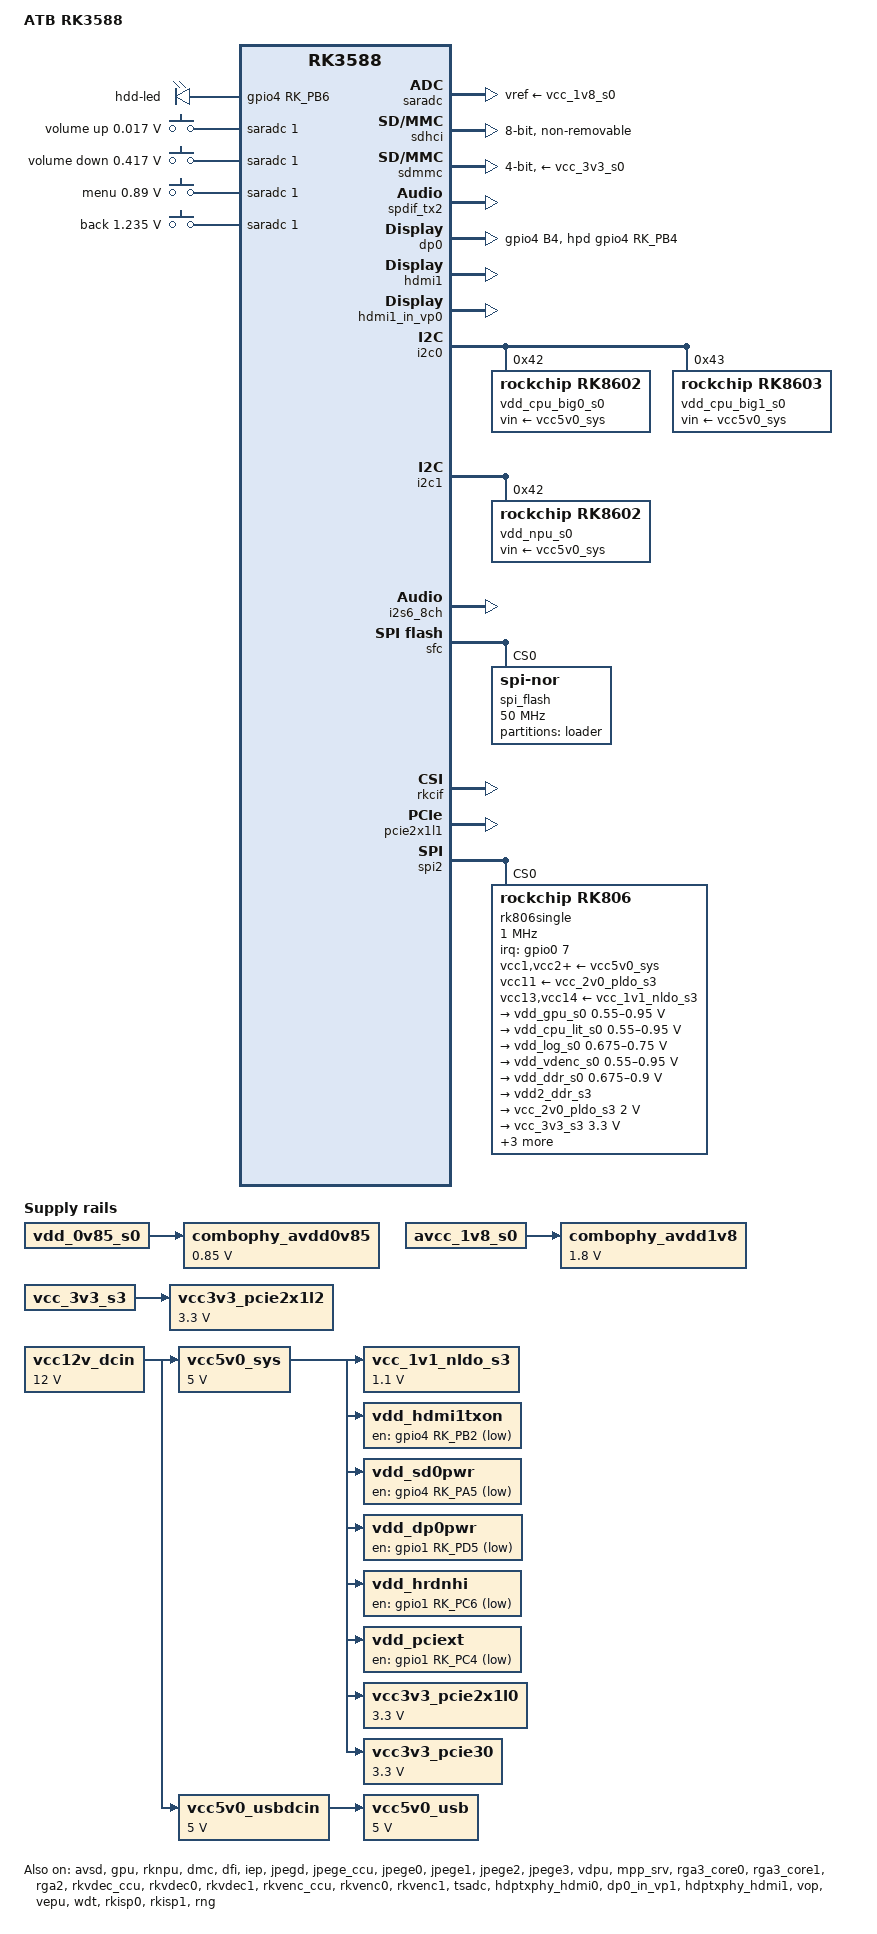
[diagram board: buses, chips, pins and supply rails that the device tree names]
// SPDX-License-Identifier: (GPL-2.0+ OR MIT)
/*
 * Copyright (c) 2021 Rockchip Electronics Co., Ltd.
 *
 */

/dts-v1/;
#include <dt-bindings/gpio/gpio.h>
#include <dt-bindings/pinctrl/rockchip.h>
#include <dt-bindings/leds/common.h>
#include <dt-bindings/pwm/pwm.h>
#include <dt-bindings/input/rk-input.h>
#include <dt-bindings/display/rockchip_vop.h>
#include <dt-bindings/sensor-dev.h>
#include "dt-bindings/usb/pd.h"
#include "rk3588s.dtsi"
#include "rk3588.dtsi"

#include "ethernet-mpc.dtsi"
#include "usb-sata-pcie-mpc.dtsi"
#include "usb-displayport-mpc.dtsi"

/ {
	model = "ATB RK3588";
	compatible = "atb,rk3588", "rockchip,rk3588";

	hdmi0_sound: hdmi0-sound {
		status = "disabled";
		compatible = "rockchip,hdmi";
		rockchip,mclk-fs = <128>;
		rockchip,card-name = "rockchip-hdmi0";
		rockchip,cpu = <&i2s5_8ch>;
		rockchip,codec = <&hdmi0>;
		rockchip,jack-det;
	};

	hdmi1_sound: hdmi1-sound {
		status = "okay";
		compatible = "rockchip,hdmi";
		rockchip,mclk-fs = <128>;
		rockchip,card-name = "rockchip-hdmi1";
		rockchip,cpu = <&i2s6_8ch>;
		rockchip,codec = <&hdmi1>;
		rockchip,jack-det;
	};

	dp0_sound: dp0-sound {
		status = "okay";
		compatible = "rockchip,hdmi";
		rockchip,card-name= "rockchip,dp0";
		rockchip,mclk-fs = <512>;
		rockchip,cpu = <&spdif_tx2>;
		rockchip,codec = <&dp0 1>;
		rockchip,jack-det;
	};

	dp1_sound: dp1-sound {
		status = "disabled";
		compatible = "rockchip,hdmi";
		rockchip,card-name= "rockchip,dp1";
		rockchip,mclk-fs = <512>;
		rockchip,cpu = <&spdif_tx5>;
		rockchip,codec = <&dp1 1>;
		rockchip,jack-det;
	};

	leds: leds {
		compatible = "gpio-leds";
		hdd-led {
			gpios = <&gpio4 RK_PB6 GPIO_ACTIVE_HIGH>;
			linux,default-trigger = "heartbeat";
			default-state = "on";
		};	
	};
	spdif_tx0_dc: spdif-tx0-dc {
		status = "disabled";
		compatible = "linux,spdif-dit";
		#sound-dai-cells = <0>;
	};

	spdif_tx0_sound: spdif-tx0-sound {
		status = "disabled";
		compatible = "simple-audio-card";
		simple-audio-card,mclk-fs = <128>;
		simple-audio-card,name = "rockchip,spdif-tx0";
		simple-audio-card,cpu {
			sound-dai = <&spdif_tx0>;
		};
		simple-audio-card,codec {
			sound-dai = <&spdif_tx0_dc>;
		};
	};

	spdif_tx1_dc: spdif-tx1-dc {
		status = "disabled";
		compatible = "linux,spdif-dit";
		#sound-dai-cells = <0>;
	};

	spdif_tx1_sound: spdif-tx1-sound {
		status = "disabled";
		compatible = "simple-audio-card";
		simple-audio-card,mclk-fs = <128>;
		simple-audio-card,name = "rockchip,spdif-tx1";
		simple-audio-card,cpu {
			sound-dai = <&spdif_tx1>;
		};
		simple-audio-card,codec {
			sound-dai = <&spdif_tx1_dc>;
		};
	};

	test-power {
		status = "okay";
	};

};

//&avdd_0v75_s0 {
//	regulator-state-mem {
//		regulator-on-in-suspend;
//		regulator-suspend-microvolt = <837500>;
//	};
//};

//&avcc_1v8_s0 {
//	regulator-state-mem {
//		regulator-on-in-suspend;
//		regulator-suspend-microvolt = <1800000>;
//	};
//};

//&vcc_1v8_s0 {
//	regulator-state-mem {
//		regulator-on-in-suspend;
//		regulator-suspend-microvolt = <1800000>;
//	};
//};

//&vcc_3v3_s0 {
//	regulator-state-mem {
//		regulator-on-in-suspend;
//		regulator-suspend-microvolt = <3300000>;
//	};
//};

//&vdd_log_s0 {
//	regulator-state-mem {
//		regulator-on-in-suspend;
//		regulator-suspend-microvolt = <750000>;
//	};
//};

//&vdd_ddr_pll_s0 {
//	regulator-state-mem {
//		regulator-on-in-suspend;
//		regulator-suspend-microvolt = <850000>;
//	};
//};


&av1d_mmu {
	status = "okay";
};

&avsd {
	status = "okay";
};

&cpu_l0 {
	cpu-supply = <&vdd_cpu_lit_s0>;
	mem-supply = <&vdd_cpu_lit_mem_s0>;
};

&cpu_b0 {
	cpu-supply = <&vdd_cpu_big0_s0>;
	mem-supply = <&vdd_cpu_big0_mem_s0>;
};

&cpu_b2 {
	cpu-supply = <&vdd_cpu_big1_s0>;
	mem-supply = <&vdd_cpu_big1_mem_s0>;
};

&gpu {
	mali-supply = <&vdd_gpu_s0>;
	mem-supply = <&vdd_gpu_mem_s0>;
	status = "okay";
};

&rknpu {
	rknpu-supply = <&vdd_npu_s0>;
	mem-supply = <&vdd_npu_mem_s0>;
	status = "okay";
};

&rknpu_mmu {
	status = "okay";
};

&dmc {
	center-supply = <&vdd_ddr_s0>;
	mem-supply = <&vdd_log_s0>;
	status = "okay";
};

&dfi {
	status = "okay";
};

&iep {
	status = "okay";
};

&iep_mmu {
	status = "okay";
};

&jpegd {
	status = "okay";
};

&jpegd_mmu {
	status = "okay";
};

&jpege_ccu {
	status = "okay";
};

&jpege0 {
	status = "okay";
};

&jpege0_mmu {
	status = "okay";
};

&jpege1 {
	status = "okay";
};

&jpege1_mmu {
	status = "okay";
};

&jpege2 {
	status = "okay";
};

&jpege2_mmu {
	status = "okay";
};

&jpege3 {
	status = "okay";
};

&jpege3_mmu {
	status = "okay";
};

&vdpu {
	status = "okay";
};

&vdpu_mmu {
	status = "okay";
};

&mpp_srv {
	status = "okay";
};

&rga3_core0 {
	status = "okay";
};

&rga3_0_mmu {
	status = "okay";
};

&rga3_core1 {
	status = "okay";
};

&rga3_1_mmu {
	status = "okay";
};

&rga2 {
	status = "okay";
};

&rkvdec_ccu {
	status = "okay";
};

&rkvdec0 {
	status = "okay";
};

&rkvdec0_mmu {
	status = "okay";
};

&rkvdec1 {
	status = "okay";
};

&rkvdec1_mmu {
	status = "okay";
};

&rkvenc_ccu {
	status = "okay";
};

&rkvenc0 {
	venc-supply = <&vdd_vdenc_s0>;
	mem-supply = <&vdd_vdenc_mem_s0>;
	status = "okay";
};

&rkvenc0_mmu {
	status = "okay";
};

&rkvenc1 {
	venc-supply = <&vdd_vdenc_s0>;
	mem-supply = <&vdd_vdenc_mem_s0>;
	status = "okay";
};

&rkvenc1_mmu {
	status = "okay";
};

&saradc {
	status = "okay";
	vref-supply = <&vcc_1v8_s0>;
};

&sdhci {
	bus-width = <8>;
	no-sdio;
	no-sd;
	non-removable;
	max-frequency = <200000000>;
	mmc-hs400-1_8v;
	mmc-hs400-enhanced-strobe;
	status = "okay";
};

&sdmmc {
	status = "okay";
	max-frequency = <50000000>;
//	no-sdio;
	no-mmc;
	bus-width = <4>;
	cap-mmc-highspeed;
	cap-sd-highspeed;
	disable-wp;
	sd-uhs-sdr104;
	vmmc-supply = <&vcc_3v3_s0>;
	vqmmc-supply = <&vccio_sd_s0>;
	pinctrl-names = "default";
	pinctrl-0 = <&sdmmc_bus4 &sdmmc_clk &sdmmc_cmd &sdmmc_det>;
};

&tsadc {
	status = "okay";
};



// === Video-audio setup ===

&mipi_dcphy0 {
	status = "disabled";
};

&mipi_dcphy1 {
	status = "disabled";
};

&spdif_tx2{
	status = "okay";
};

&hdmi0 {
	status = "disabled";
};

&hdmi0_in_vp0 {
	status = "disabled";
};

&hdmi0_sound {
	status = "disabled";
};

&hdptxphy_hdmi_clk0 {
	status = "okay";
};

&hdptxphy_hdmi0 {
	status = "okay";
};

&route_hdmi0{
	status = "disabled";
};

// 1v8_DP_PWR_EN - page 10, block D9-5
&dp0 {
	status = "okay";
	pinctrl-names = "default";
	pinctrl-0 = <&dp0_hpd>;
	hpd-gpios = <&gpio4 RK_PB4 GPIO_ACTIVE_HIGH>;
};

&dp0_sound {
	status = "okay";
};

&dp0_in_vp0 {
	status = "disabled";
};

&dp0_in_vp1 {
	status = "okay";
};

&dp0_in_vp2 {
	status = "disabled";
};

&route_dp0 {
	status = "okay";
	force-output;
	connect = <&vp1_out_dp0>;
};

// HDMI1_HPD - page 14, block D9-6
&hdmi1 {
	status = "okay";
	pinctrl-names = "default";
	pinctrl-0 = <&hdmim2_tx1_cec &hdmim0_tx1_hpd &hdmim1_tx1_scl &hdmim1_tx1_sda>;
	cec-enable = "false";
};

&hdptxphy_hdmi_clk1 {
	status = "okay";
};

&hdptxphy_hdmi1 {
	status = "okay";
};

&hdmi1_sound {
	status = "okay";
};

&hdmi1_in_vp0 {
	status = "okay";
};

&hdmi1_in_vp1 {
	status = "disabled";
};

&hdmi1_in_vp2 {
	status = "disabled";
};

&route_hdmi1 {
	status = "okay";
	force-output;
	connect = <&vp0_out_hdmi1>;
};

&dp1 {
	status = "disabled";
};

&dp1_in_vp0 {
	status = "disabled";
};

&dp1_in_vp1 {
	status = "disabled";
};

&dp1_in_vp2 {
	status = "disabled";
};

&route_dp1{
	status = "disabled";
};


// === Video ports setup ===

&vop {
	status = "okay";
	disable-win-move;
	assigned-clocks = <&cru ACLK_VOP>;
	assigned-clock-rates = <800000000>;
};

&vop_mmu {
	status = "okay";
};

&vepu {
	status = "okay";
};

// vp0 & vp1 splice for 8K output
&vp0 {
	rockchip,plane-mask = <(1 << ROCKCHIP_VOP2_CLUSTER0 | 1 << ROCKCHIP_VOP2_ESMART0)>;
	rockchip,primary-plane = <ROCKCHIP_VOP2_ESMART0>;
};

&vp1 {
	rockchip,plane-mask = <(1 << ROCKCHIP_VOP2_CLUSTER1 | 1 << ROCKCHIP_VOP2_ESMART1)>;
	rockchip,primary-plane = <ROCKCHIP_VOP2_ESMART1>;
};

&vp2 {
	rockchip,plane-mask = <(1 << ROCKCHIP_VOP2_CLUSTER2 | 1 << ROCKCHIP_VOP2_ESMART2)>;
	rockchip,primary-plane = <ROCKCHIP_VOP2_ESMART2>;
};

&vp3 {
	rockchip,plane-mask = <(1 << ROCKCHIP_VOP2_CLUSTER3 | 1 << ROCKCHIP_VOP2_ESMART3)>;
	rockchip,primary-plane = <ROCKCHIP_VOP2_ESMART3>;
};


&display_subsystem {
	clocks = <&hdptxphy_hdmi_clk1>;
	clock-names = "hdmi1_phy_pll";
	ports = <&vop_out>;

	route {

		route_dp0: route-dp0 {
			status = "okay";
			logo,uboot = "logo.bmp";
			logo,kernel = "logo_kernel.bmp";
			logo,mode = "center";
			charge_logo,mode = "center";
			connect = <&vp1_out_dp0>;
		};

		route_hdmi1: route-hdmi1 {
			status = "okay";
			logo,uboot = "logo.bmp";
			logo,kernel = "logo_kernel.bmp";
			logo,mode = "center";
			charge_logo,mode = "center";
			connect = <&vp0_out_hdmi1>;
		};
	};
};


&sdio {
	status = "disabled";
};





// === UART setup ===

&uart0 {
	status = "disabled";
	pinctrl-names = "default";
	pinctrl-0 = <&uart0m0_xfer>;
};


// uart1 - page 14, block D9-6
&uart1 {
	status = "disabled";
	pinctrl-names = "default";
	pinctrl-0 = <&uart1m1_xfer>;
};

//&uart2 {
//	status = "okay";
//	pinctrl-names = "default";
//	pinctrl-0 = <&uart2m0_xfer>;
//};


// uart3 - page 10, block D9-5
&uart3 {
	status = "disabled";
	pinctrl-names = "default";
	pinctrl-0 = <&uart3m0_xfer>;
};

// uart4 - page 11, block D9-7
&uart4 {
	status = "disabled";
	pinctrl-names = "default";
	pinctrl-0 = <&uart4m1_xfer>;
};

&uart5 {
	status = "disabled";
};

&uart6 {
	status = "disabled";
};

// uart7 - page 11, block D9-7
&uart7 {
	status = "disabled";
	pinctrl-names = "default";
	pinctrl-0 = <&uart7m0_xfer>;
};

&uart8 {
	status = "disabled";
};

// uart9 - page 11, block D9-7
&uart9 {
	status = "disabled";
	pinctrl-names = "default";
	pinctrl-0 = <&uart9m2_xfer>;
};

// === SPI setup ===

&spi0 {
	status = "disabled";
	pinctrl-names = "default";
	pinctrl-0 = <&spi0m0_cs1 &spi0m0_pins>;
};

&spi1 {
	status = "disabled";
};

&spi3 {
	status = "disabled";
	pinctrl-names = "default";
//	pinctrl-0 = <&spi0m0_cs1 &spi0m0_pins>;
//	num-cs = <1>;
};

// === I2C setup ===

// i2c0 - page 7, block D9-3
&i2c0 {
	status = "okay";
	pinctrl-names = "default";
	pinctrl-0 = <&i2c0m2_xfer>;

	vdd_cpu_big0_s0: vdd_cpu_big0_mem_s0: rk8602@42 {
		compatible = "rockchip,rk8602";
		reg = <0x42>;
		vin-supply = <&vcc5v0_sys>;
		regulator-compatible = "rk860x-reg";
		regulator-name = "vdd_cpu_big0_s0";
		regulator-min-microvolt = <550000>;
		regulator-max-microvolt = <1050000>;
		regulator-ramp-delay = <2300>;
		rockchip,suspend-voltage-selector = <1>;
		regulator-boot-on;
		regulator-always-on;
		regulator-state-mem {
		regulator-off-in-suspend;
		};
	};

	vdd_cpu_big1_s0: vdd_cpu_big1_mem_s0: rk8603@43 {
		compatible = "rockchip,rk8603";
		reg = <0x43>;
		vin-supply = <&vcc5v0_sys>;
		regulator-compatible = "rk860x-reg";
		regulator-name = "vdd_cpu_big1_s0";
		regulator-min-microvolt = <550000>;
		regulator-max-microvolt = <1050000>;
		regulator-ramp-delay = <2300>;
		rockchip,suspend-voltage-selector = <1>;
		regulator-boot-on;
		regulator-always-on;
		regulator-state-mem {
		regulator-off-in-suspend;
		};
	};
};

// i2c1 - page 7, block D9-3
&i2c1 {
	status = "okay";
	pinctrl-names = "default";
	pinctrl-0 = <&i2c1m2_xfer>;

	vdd_npu_s0: vdd_npu_mem_s0: rk8602@42 {
		compatible = "rockchip,rk8602";
		reg = <0x42>;
		vin-supply = <&vcc5v0_sys>;
		regulator-compatible = "rk860x-reg";
		regulator-name = "vdd_npu_s0";
		regulator-min-microvolt = <550000>;
		regulator-max-microvolt = <950000>;
		regulator-ramp-delay = <2300>;
		rockchip,suspend-voltage-selector = <1>;
		regulator-boot-on;
		regulator-always-on;
		regulator-state-mem {
		regulator-off-in-suspend;
		};
	};
	
}; // &i2c1 {

&i2c2 {
	status = "disabled";
};

&i2c3 {
	status = "disabled";
	pinctrl-names = "default";
	pinctrl-0 = <&i2c3m0_xfer>;
};

// i2c4 - page 7, block D9-3
&i2c4 {
	status = "disabled";
	pinctrl-names = "default";
	pinctrl-0 = <&i2c4m2_xfer>;

	i2c@5d {
		status = "okay";
		compatible = "goodix,gt9xx";
		reg = <0x5d>;
	};

	i2c@53 {
		status = "okay";
		compatible = "microchip,24AA02UIDT", "atmel,24AA02UIDT";
		reg = <0x53>;
//		#address-cells = <2>;
//		#size-cells = <0>;
		pagesize = <16>;
		size = <256>;

		eui_48: eui-48@fa {
		    reg = <0xfa 0x06>;
		};
	};

};

&i2c5 {
	status = "disabled";
	pinctrl-names = "default";
	pinctrl-0 = <&i2c5m3_xfer>;
};

&i2c6 {
	status = "disabled";
	pinctrl-names = "default";
	pinctrl-0 = <&i2c6m3_xfer>;


//	usbc0: fusb302@22 {
//		compatible = "fcs,fusb302";
//		reg = <0x22>;
//		interrupt-parent = <&gpio0>;
//		interrupts = <RK_PD3 IRQ_TYPE_LEVEL_LOW>;
//		pinctrl-names = "default";
//		pinctrl-0 = <&usbc0_int>;
//		vbus-supply = <&vcc12v_dcin>;
//		status = "okay";
//
//		ports {
//			#address-cells = <1>;
//			#size-cells = <0>;
//
//			port@0 {
//				reg = <0>;
//				usbc0_role_sw: endpoint@0 {
//					remote-endpoint = <&dwc3_0_role_switch>;
//				};
//			};
//		};
//
//		usb_con: connector {
//			compatible = "usb-c-connector";
//			label = "USB-C";
//			data-role = "dual";
//			faster-pd-negotiation;
//			power-role = "sink";
//			try-power-role = "sink";
//			op-sink-microwatt = <1000000>;
//			sink-pdos =
//				<PDO_FIXED(5000, 3000, PDO_FIXED_USB_COMM)
//				 PDO_VAR(5000, 20000, 5000)>;
//
//			altmodes {
//				#address-cells = <1>;
//				#size-cells = <0>;
//
//				altmode@0 {
//					reg = <0>;
//					svid = <0xff01>;
//					vdo = <0xffffffff>;
//				};
//			};
//
//			ports {
//				#address-cells = <1>;
//				#size-cells = <0>;
//
//				port@0 {
//					reg = <0>;
//					usbc0_orien_sw: endpoint {
//						remote-endpoint = <&usbdp_phy0_orientation_switch>;
//					};
//				};
//
//				port@1 {
//					reg = <1>;
//					dp_altmode_mux: endpoint {
//						remote-endpoint = <&usbdp_phy0_dp_altmode_mux>;
//					};
//				};
//			};
//		};
//	};

//	hym8563: hym8563@51 {
//		compatible = "haoyu,hym8563";
//		reg = <0x51>;
//		#clock-cells = <0>;
//		clock-frequency = <32768>;
//		clock-output-names = "hym8563";
//		pinctrl-names = "default";
//		pinctrl-0 = <&hym8563_int>;
//		interrupt-parent = <&gpio0>;
//		interrupts = <RK_PB0 IRQ_TYPE_LEVEL_LOW>;
//		wakeup-source;
//	};

};

&i2c7 {
	status = "disabled";
	pinctrl-names = "default";
	pinctrl-0 = <&i2c7m0_xfer>;

//	es8388: es8388@10 {
//		status = "disabled";
//		#sound-dai-cells = <0>;
//		compatible = "everest,es8388", "everest,es8323";
//		reg = <0x10>;
//		clocks = <&cru I2S0_8CH_MCLKOUT>;
//		clock-names = "mclk";
//		assigned-clocks = <&cru I2S0_8CH_MCLKOUT>;
//		assigned-clock-rates = <12288000>;
//		pinctrl-names = "default";
//		pinctrl-0 = <&i2s0_mclk>;
//	};
};

&i2c8 {
	status = "disabled";
};

//&i2c9 {
//	status = "disabled";
//};

// === PWM setup ===

&pwm0 {
	status = "disabled";
	pinctrl-names = "active";
	pinctrl-0 = <&pwm0m1_pins>;
};

&pwm1 {
	status = "disabled";
	pinctrl-names = "active";
	//pinctrl-0 = <&pwm1m2_pins>;
	pinctrl-0 = <&pwm1m1_pins>;
};

&pwm2 {
	status = "disabled";
	pinctrl-names = "active";
	pinctrl-0 = <&pwm2m0_pins>;
};

&pwm3 {
	status = "disabled";
	pinctrl-names = "active";
	pinctrl-0 = <&pwm3m2_pins>;
	//pinctrl-0 = <&pwm3m0_pins>;
};

&pwm6 {
	status = "disabled";
	pinctrl-names = "active";
	pinctrl-0 = <&pwm6m0_pins>;
};

&pwm13 {
	status = "disabled";
	pinctrl-names = "active";
	pinctrl-0 = <&pwm13m2_pins>;
};

&pwm15 {
	status = "disabled";
	pinctrl-names = "active";
	pinctrl-0 = <&pwm15m2_pins>;
};

&pwm14 {
	status = "disabled";
	pinctrl-names = "active";
	pinctrl-0 = <&pwm14m1_pins>;
};



// === I2S setup ===

&i2s0_8ch {
	status = "disabled";
	pinctrl-0 = <&i2s0_lrck
		     &i2s0_sclk
		     &i2s0_sdi0
		     &i2s0_sdo0>;
};

&i2s1_8ch {
	status = "disabled";
	rockchip,i2s-tx-route = <3 2 1 0>;
	rockchip,i2s-rx-route = <1 3 2 0>;
	pinctrl-names = "default";
	pinctrl-0 = <&i2s1m0_sclk
	             &i2s1m0_lrck
	             &i2s1m0_sdi1
	             &i2s1m0_sdo3>;
};

&i2s5_8ch {
	status = "disabled";
};

&i2s6_8ch {
	status = "okay";
};


&can0 {
	status = "disabled";
};

&can1 {
	status = "disabled";
};

&can2 {
	status = "disabled";
};



// watchdog
&wdt {
        status = "okay";
};

&sfc {
	status = "okay";
	max-freq = <50000000>;
	#address-cells = <1>;
	#size-cells = <0>;
	pinctrl-names = "default";
	pinctrl-0 = <&fspim0_pins>;

	spi_flash: spi-flash@0 {
		#address-cells = <1>;
		#size-cells = <0>;
		compatible = "jedec,spi-nor";
		reg = <0x0>;
		spi-max-frequency = <50000000>;
		spi-tx-bus-width = <1>;
		spi-rx-bus-width = <4>;
		status = "okay";

		partitions {
			compatible = "fixed-partitions";
			#address-cells = <1>;
			#size-cells = <1>;

			loader@0 {
				label = "loader";
				reg = <0x0 0x1000000>;
			};
		};
	};
};

/*
&rockchip_suspend {
	status = "okay";
	compatible = "rockchip,pm-rk3588";
	rockchip,sleep-debug-en = <1>;
	rockchip,sleep-mode-config = <
		(0
		| RKPM_SLP_ARMOFF_DDRPD
		)
	>;
	rockchip,wakeup-config = <
		(0
		| RKPM_GPIO_WKUP_EN
		| RKPM_USB_WKUP_EN
		)
	>;
};
*/

&rkcif {
	status = "okay";
};

&rkcif_mmu {
	status = "okay";
};

&rkisp0 {
	status = "okay";
};

&isp0_mmu {
	status = "okay";
};

&rkisp1 {
	status = "okay";
};

&isp1_mmu {
	status = "okay";
};

//=== Other
#define M2_SATA3_OR_PCIE_OR_USB 1 /*1 = SATA , 0 = PCIe */
&combphy2_psu {
	status = "disabled";
};
//SATA2 begin
/*&sata3 {
	status = "disabled";
};
*/
//pcie begin
&pcie2x1l1 {
	status = "okay";
};
//pcie end
//SATA2 end
//USB30_2 begin
&usbhost3_0 {
	status = "disabled";
};

&usbhost_dwc3_0 {
	status = "disabled";
};

//-USB30_2 end
/*
&usbdp_phy0_dp {
	status = "disabled";
};
*/


&pinctrl {

//	usb {
//		vcc5v0_host_en: vcc5v0-host-en {
//			rockchip,pins = <4 RK_PB0 RK_FUNC_GPIO &pcfg_pull_none>;
//		};
//
//		vcc5v0_otg_en: vcc5v0-otg-en {
//			rockchip,pins = <2 RK_PC5 RK_FUNC_GPIO &pcfg_pull_none>;
//		};
//	};


	dp {
		dp0_hpd: dp0-hpd {
			 rockchip,pins = <4 RK_PB4 RK_FUNC_GPIO &pcfg_pull_none>;
		};
	};

//	headphone {
//		hp_det: hp-det {
//			rockchip,pins = <1 RK_PD5 RK_FUNC_GPIO &pcfg_pull_none>;
//		};
//	};

//	hym8563 {
//		hym8563_int: hym8563-int {
//			rockchip,pins = <0 RK_PB0 RK_FUNC_GPIO &pcfg_pull_up>;
//		};
//	};


//	usb-typec {
//		usbc0_int: usbc0-int {
//			rockchip,pins = <0 RK_PD3 RK_FUNC_GPIO &pcfg_pull_up>;
//		};
//
//		typec5v_pwren: typec5v-pwren {
//			rockchip,pins = <3 RK_PC0 RK_FUNC_GPIO &pcfg_pull_none>;
//		};
//	};

};


&gpio0 {
	gpio-line-names =
		/* GPIO0_A0-A3 */
		"", "", "", "",
		/* GPIO0_A4-A7 */
		"", "", "", "",

		/* GPIO0_B0-B3 */
		"", "", "", "",
		/* GPIO0_B4-B7 */
		"", "", "", "",

		/* GPIO0_C0-C3 */
		"", "", "", "",
		/* GPIO0_C4-C7 */
		"", "", "", "",

		/* GPIO0_D0-D3 */
		"", "", "", "",
		/* GPIO0_D4-D7 */
		"", "", "", "";
};

&gpio1 {
	gpio-line-names =
		/* GPIO1_A0-A3 */
		"", "", "", "",
		/* GPIO1_A4-A7 */
		"", "", "", "",

		/* GPIO1_B0-B3 */
		"", "", "", "",
		/* GPIO1_B4-B7 */
		"", "", "", "",

		/* GPIO1_C0-C3 */
		"", "", "", "",
		/* GPIO1_C4-C7 */
		"", "", "", "",

		/* GPIO1_D0-D3 */
		"", "", "", "",
		/* GPIO1_D4-D7 */
		"", "", "", "";
};

&gpio2 {
	gpio-line-names =
		/* GPIO2_A0-A3 */
		"", "", "", "",
		/* GPIO2_A4-A7 */
		"", "", "", "",

		/* GPIO2_B0-B3 */
		"", "", "", "",
		/* GPIO2_B4-B7 */
		"", "", "", "",

		/* GPIO2_C0-C3 */
		"", "", "", "",
		/* GPIO2_C4-C7 */
		"", "", "", "",

		/* GPIO2_D0-D3 */
		"", "", "", "",
		/* GPIO2_D4-D7 */
		"", "", "", "";
};

&gpio3 {
	gpio-line-names =
		/* GPIO3_A0-A3 */
		"", "", "", "",
		/* GPIO3_A4-A7 */
		"", "", "", "",

		/* GPIO3_B0-B3 */
		"", "", "", "",
		/* GPIO3_B4-B7 */
		"", "", "", "",

		/* GPIO3_C0-C3 */
		"", "", "", "",
		/* GPIO3_C4-C7 */
		"", "", "", "",

		/* GPIO3_D0-D3 */
		"", "", "", "",
		/* GPIO3_D4-D7 */
		"", "", "", "";
};

&gpio4 {
	gpio-line-names =
		/* GPIO4_A0-A3 */
		"", "", "", "",
		/* GPIO4_A4-A7 */
		"", "", "", "",

		/* GPIO4_B0-B3 */
		"", "", "", "",
		/* GPIO4_B4-B7 */
		"", "", "", "",

		/* GPIO4_C0-C3 */
		"", "", "", "",
		/* GPIO4_C4-C7 */
		"", "", "", "",

		/* GPIO4_D0-D3 */
		"", "", "", "",
		/* GPIO4_D4-D7 */
		"", "", "", "";
};

///////////////////////////
//rk3588-rk806-single.dtsi
///////////////////////////
&spi2 {
	status = "okay";
	assigned-clocks = <&cru CLK_SPI2>;
	assigned-clock-rates = <200000000>;
	pinctrl-names = "default";
	pinctrl-0 = <&spi2m2_cs0 &spi2m2_pins>;
	num-cs = <1>;

	rk806single: rk806single@0 {
		compatible = "rockchip,rk806";
		spi-max-frequency = <1000000>;
		reg = <0x0>;

		interrupt-parent = <&gpio0>;
		interrupts = <7 IRQ_TYPE_LEVEL_LOW>;

		pinctrl-names = "default", "pmic-power-off";
		pinctrl-0 = <&pmic_pins>, <&rk806_dvs1_null>, <&rk806_dvs2_null>, <&rk806_dvs3_null>;
		pinctrl-1 = <&rk806_dvs1_pwrdn>;

		/* 2800mv-3500mv */
		low_voltage_threshold = <3000>;
		/* 2700mv-3400mv */
		shutdown_voltage_threshold = <2700>;
		/* 140 160 */
		shutdown_temperture_threshold = <160>;
		hotdie_temperture_threshold = <115>;

		/* 0: restart PMU;
		 * 1: reset all the power off reset registers,
		 *    forcing the state to switch to ACTIVE mode;
		 * 2: Reset all the power off reset registers,
		 *    forcing the state to switch to ACTIVE mode,
		 *    and simultaneously pull down the RESETB PIN for 5mS before releasing
		 */
		pmic-reset-func = <1>;

		vcc1-supply = <&vcc5v0_sys>;
		vcc2-supply = <&vcc5v0_sys>;
		vcc3-supply = <&vcc5v0_sys>;
		vcc4-supply = <&vcc5v0_sys>;
		vcc5-supply = <&vcc5v0_sys>;
		vcc6-supply = <&vcc5v0_sys>;
		vcc7-supply = <&vcc5v0_sys>;
		vcc8-supply = <&vcc5v0_sys>;
		vcc9-supply = <&vcc5v0_sys>;
		vcc10-supply = <&vcc5v0_sys>;
		vcc11-supply = <&vcc_2v0_pldo_s3>;
		vcc12-supply = <&vcc5v0_sys>;
		vcc13-supply = <&vcc_1v1_nldo_s3>;
		vcc14-supply = <&vcc_1v1_nldo_s3>;
		vcca-supply = <&vcc5v0_sys>;

		pwrkey {
			status = "okay";
		};

		pinctrl_rk806: pinctrl_rk806 {
			gpio-controller;
			#gpio-cells = <2>;

			rk806_dvs1_null: rk806_dvs1_null {
				pins = "gpio_pwrctrl2";
				function = "pin_fun0";
			};

			rk806_dvs1_slp: rk806_dvs1_slp {
				pins = "gpio_pwrctrl1";
				function = "pin_fun1";
			};

			rk806_dvs1_pwrdn: rk806_dvs1_pwrdn {
				pins = "gpio_pwrctrl1";
				function = "pin_fun2";
			};

			rk806_dvs1_rst: rk806_dvs1_rst {
				pins = "gpio_pwrctrl1";
				function = "pin_fun3";
			};

			rk806_dvs2_null: rk806_dvs2_null {
				pins = "gpio_pwrctrl2";
				function = "pin_fun0";
			};

			rk806_dvs2_slp: rk806_dvs2_slp {
				pins = "gpio_pwrctrl2";
				function = "pin_fun1";
			};

			rk806_dvs2_pwrdn: rk806_dvs2_pwrdn {
				pins = "gpio_pwrctrl2";
				function = "pin_fun2";
			};

			rk806_dvs2_rst: rk806_dvs2_rst {
				pins = "gpio_pwrctrl2";
				function = "pin_fun3";
			};

			rk806_dvs2_dvs: rk806_dvs2_dvs {
				pins = "gpio_pwrctrl2";
				function = "pin_fun4";
			};

			rk806_dvs2_gpio: rk806_dvs2_gpio {
				pins = "gpio_pwrctrl2";
				function = "pin_fun5";
			};

			rk806_dvs3_null: rk806_dvs3_null {
				pins = "gpio_pwrctrl3";
				function = "pin_fun0";
			};

			rk806_dvs3_slp: rk806_dvs3_slp {
				pins = "gpio_pwrctrl3";
				function = "pin_fun1";
			};

			rk806_dvs3_pwrdn: rk806_dvs3_pwrdn {
				pins = "gpio_pwrctrl3";
				function = "pin_fun2";
			};

			rk806_dvs3_rst: rk806_dvs3_rst {
				pins = "gpio_pwrctrl3";
				function = "pin_fun3";
			};

			rk806_dvs3_dvs: rk806_dvs3_dvs {
				pins = "gpio_pwrctrl3";
				function = "pin_fun4";
			};

			rk806_dvs3_gpio: rk806_dvs3_gpio {
				pins = "gpio_pwrctrl3";
				function = "pin_fun5";
			};
		};

		regulators {
			vdd_gpu_s0: vdd_gpu_mem_s0: DCDC_REG1 {
				regulator-boot-on;
				regulator-min-microvolt = <550000>;
				regulator-max-microvolt = <950000>;
				regulator-ramp-delay = <12500>;
				regulator-name = "vdd_gpu_s0";
				regulator-enable-ramp-delay = <400>;
				regulator-state-mem {
					regulator-off-in-suspend;
				};
			};

			vdd_cpu_lit_s0: vdd_cpu_lit_mem_s0: DCDC_REG2 {
				regulator-always-on;
				regulator-boot-on;
				regulator-min-microvolt = <550000>;
				regulator-max-microvolt = <950000>;
				regulator-ramp-delay = <12500>;
				regulator-name = "vdd_cpu_lit_s0";
				regulator-state-mem {
					regulator-off-in-suspend;
				};
			};

			vdd_log_s0: DCDC_REG3 {
				regulator-always-on;
				regulator-boot-on;
				regulator-min-microvolt = <675000>;
				regulator-max-microvolt = <750000>;
				regulator-ramp-delay = <12500>;
				regulator-name = "vdd_log_s0";
				regulator-state-mem {
					regulator-off-in-suspend;
					regulator-suspend-microvolt = <750000>;
				};
			};

			vdd_vdenc_s0: vdd_vdenc_mem_s0: DCDC_REG4 {
				regulator-always-on;
				regulator-boot-on;
				regulator-min-microvolt = <550000>;
				regulator-max-microvolt = <950000>;
				regulator-init-microvolt = <750000>;
				regulator-ramp-delay = <12500>;
				regulator-name = "vdd_vdenc_s0";
				regulator-state-mem {
					regulator-off-in-suspend;
				};
			};

			vdd_ddr_s0: DCDC_REG5 {
				regulator-always-on;
				regulator-boot-on;
				regulator-min-microvolt = <675000>;
				regulator-max-microvolt = <900000>;
				regulator-ramp-delay = <12500>;
				regulator-name = "vdd_ddr_s0";
				regulator-state-mem {
					regulator-off-in-suspend;
					regulator-suspend-microvolt = <850000>;
				};
			};

			vdd2_ddr_s3: DCDC_REG6 {
				regulator-always-on;
				regulator-boot-on;
				regulator-name = "vdd2_ddr_s3";
				regulator-state-mem {
					regulator-on-in-suspend;
				};
			};

			vcc_2v0_pldo_s3: DCDC_REG7 {
				regulator-always-on;
				regulator-boot-on;
				regulator-min-microvolt = <2000000>;
				regulator-max-microvolt = <2000000>;
				regulator-name = "vdd_2v0_pldo_s3";
				regulator-state-mem {
					regulator-on-in-suspend;
					regulator-suspend-microvolt = <2000000>;
				};
			};

			vcc_3v3_s3: DCDC_REG8 {
				regulator-always-on;
				regulator-boot-on;
				regulator-min-microvolt = <3300000>;
				regulator-max-microvolt = <3300000>;
				regulator-name = "vcc_3v3_s3";
				regulator-state-mem {
					regulator-on-in-suspend;
					regulator-suspend-microvolt = <3300000>;
				};
			};

			vddq_ddr_s0: DCDC_REG9 {
				regulator-always-on;
				regulator-boot-on;
				regulator-name = "vddq_ddr_s0";
				regulator-state-mem {
					regulator-off-in-suspend;
				};
			};

			vcc_1v8_s3: DCDC_REG10 {
				regulator-always-on;
				regulator-boot-on;
				regulator-min-microvolt = <1800000>;
				regulator-max-microvolt = <1800000>;
				regulator-name = "vcc_1v8_s3";
				regulator-state-mem {
					regulator-on-in-suspend;
					regulator-suspend-microvolt = <1800000>;
				};
			};

			avcc_1v8_s0: PLDO_REG1 {
				regulator-always-on;
				regulator-boot-on;
				regulator-min-microvolt = <1800000>;
				regulator-max-microvolt = <1800000>;
				regulator-name = "avcc_1v8_s0";
				regulator-state-mem {
					regulator-off-in-suspend;
				};
			};

			vcc_1v8_s0: PLDO_REG2 {
				regulator-always-on;
				regulator-boot-on;
				regulator-min-microvolt = <1800000>;
				regulator-max-microvolt = <1800000>;
				regulator-name = "vcc_1v8_s0";
				regulator-state-mem {
					regulator-off-in-suspend;
					regulator-suspend-microvolt = <1800000>;
				};
			};

			avdd_1v2_s0: PLDO_REG3 {
				regulator-always-on;
				regulator-boot-on;
				regulator-min-microvolt = <1200000>;
				regulator-max-microvolt = <1200000>;
				regulator-name = "avdd_1v2_s0";
				regulator-state-mem {
					regulator-off-in-suspend;
				};
			};

			vcc_3v3_s0: PLDO_REG4 {
				regulator-always-on;
				regulator-boot-on;
				regulator-min-microvolt = <3300000>;
				regulator-max-microvolt = <3300000>;
				regulator-name = "vcc_3v3_s0";
				regulator-state-mem {
					regulator-off-in-suspend;
				};
			};

			vccio_sd_s0: PLDO_REG5 {
				regulator-always-on;
				regulator-boot-on;
				regulator-min-microvolt = <1800000>;
				regulator-max-microvolt = <3300000>;
				regulator-name = "vccio_sd_s0";
				regulator-state-mem {
					regulator-off-in-suspend;
				};
			};

			pldo6_s3: PLDO_REG6 {
				regulator-always-on;
				regulator-boot-on;
				regulator-min-microvolt = <1800000>;
				regulator-max-microvolt = <1800000>;
				regulator-name = "pldo6_s3";
				regulator-state-mem {
					regulator-on-in-suspend;
					regulator-suspend-microvolt = <1800000>;
				};
			};

			vdd_0v75_s3: NLDO_REG1 {
				regulator-always-on;
				regulator-boot-on;
				regulator-min-microvolt = <750000>;
				regulator-max-microvolt = <750000>;
				regulator-name = "vdd_0v75_s3";
				regulator-state-mem {
					regulator-on-in-suspend;
					regulator-suspend-microvolt = <750000>;
				};
			};

			vdd_ddr_pll_s0: NLDO_REG2 {
				regulator-always-on;
				regulator-boot-on;
				regulator-min-microvolt = <850000>;
				regulator-max-microvolt = <850000>;
				regulator-name = "vdd_ddr_pll_s0";
				regulator-state-mem {
					regulator-off-in-suspend;
					regulator-suspend-microvolt = <850000>;
				};
			};

			avdd_0v75_s0: NLDO_REG3 {
				regulator-always-on;
				regulator-boot-on;
				regulator-min-microvolt = <837500>;
				regulator-max-microvolt = <837500>;
				regulator-name = "avdd_0v75_s0";
				regulator-state-mem {
					regulator-off-in-suspend;
				};
			};

			vdd_0v85_s0: NLDO_REG4 {
				regulator-always-on;
				regulator-boot-on;
				regulator-min-microvolt = <850000>;
				regulator-max-microvolt = <850000>;
				regulator-name = "vdd_0v85_s0";
				regulator-state-mem {
					regulator-off-in-suspend;
				};
			};

			vdd_0v75_s0: NLDO_REG5 {
				regulator-always-on;
				regulator-boot-on;
				regulator-min-microvolt = <750000>;
				regulator-max-microvolt = <750000>;
				regulator-name = "vdd_0v75_s0";
				regulator-state-mem {
					regulator-off-in-suspend;
				};
			};
		};
	};
};


///////////////////////////
//atb-rk3588-pre.dtsi
///////////////////////////
/ {

//	spi2: spi@feb20000 {
//		compatible = "rockchip,rk3066-spi";
//		reg = <0x0 0xfeb20000 0x0 0x1000>;
//		interrupts = <GIC_SPI 328 IRQ_TYPE_LEVEL_HIGH>;
//		#address-cells = <1>;
//		#size-cells = <0>;
//		clocks = <&cru CLK_SPI2>, <&cru PCLK_SPI2>;
//		clock-names = "spiclk", "apb_pclk";
//		dmas = <&dmac1 15>, <&dmac1 16>;
//		dma-names = "tx", "rx";
//		pinctrl-names = "default";
//		pinctrl-0 = <&spi2m2_cs0 &spi2m2_pins>;
//		num-cs = <1>;
//		status = "okay";
//	};

	vcc12v_dcin: vcc12v-dcin {
		compatible = "regulator-fixed";
		regulator-name = "vcc12v_dcin";
		regulator-always-on;
		regulator-boot-on;
		regulator-min-microvolt = <12000000>;
		regulator-max-microvolt = <12000000>;
		status = "okay";
	};

	vcc5v0_sys: vcc5v0-sys {
		compatible = "regulator-fixed";
		regulator-name = "vcc5v0_sys";
		regulator-always-on;
		regulator-boot-on;
		regulator-min-microvolt = <5000000>;
		regulator-max-microvolt = <5000000>;
		vin-supply = <&vcc12v_dcin>;
		status = "okay";
	};

	vcc5v0_usbdcin: vcc5v0-usbdcin {
		compatible = "regulator-fixed";
		regulator-name = "vcc5v0_usbdcin";
		regulator-always-on;
		regulator-boot-on;
		regulator-min-microvolt = <5000000>;
		regulator-max-microvolt = <5000000>;
		vin-supply = <&vcc12v_dcin>;
	};

	vcc5v0_usb: vcc5v0-usb {
		compatible = "regulator-fixed";
		regulator-name = "vcc5v0_usb";
		regulator-always-on;
		regulator-boot-on;
		regulator-min-microvolt = <5000000>;
		regulator-max-microvolt = <5000000>;
		vin-supply = <&vcc5v0_usbdcin>;
	};
	/*D5 */
	vcc_1v1_nldo_s3: vcc-1v1-nldo-s3 {
		compatible = "regulator-fixed";
		regulator-name = "vcc_1v1_nldo_s3";
		regulator-always-on;
		regulator-boot-on;
		regulator-min-microvolt = <1100000>;
		regulator-max-microvolt = <1100000>;
		vin-supply = <&vcc5v0_sys>;
	};
/* unused virtual load */
	combophy_avdd0v85: combophy-avdd0v85 {
		compatible = "regulator-fixed";
		regulator-name = "combophy_avdd0v85";
		regulator-boot-on;
		regulator-always-on;
		regulator-min-microvolt = <850000>;
		regulator-max-microvolt = <850000>;
		vin-supply = <&vdd_0v85_s0>;
	};

	combophy_avdd1v8: combophy-avdd1v8 {
		compatible = "regulator-fixed";
		regulator-name = "combophy_avdd1v8";
		regulator-boot-on;
		regulator-always-on;
		regulator-min-microvolt = <1800000>;
		regulator-max-microvolt = <1800000>;
		vin-supply = <&avcc_1v8_s0>;
	};

// HDMI1_TX_ON_H  - page 14, block 9-8 
// Gate 500R on inout
	vdd_hdmi1txon: REGDMY1 {
		compatible = "regulator-fixed";
		regulator-name = "vdd_hdmi1txon";
		regulator-boot-on;
		regulator-always-on;
//		enable-active-high;
		gpios = <&gpio4 RK_PB2 GPIO_ACTIVE_LOW>;
		vin-supply = <&vcc5v0_sys>;
//		status = "okay";
	};

// SDMMC_PWREN_ - page 14, block D9-8
// Power SD-MMC
	vdd_sd0pwr: REGDMY2 {
		compatible = "regulator-fixed";
		regulator-name = "vdd_sd0pwr";
		regulator-boot-on;
		regulator-always-on;
//		enable-active-high;
		gpios = <&gpio4 RK_PA5 GPIO_ACTIVE_LOW>;
		vin-supply = <&vcc5v0_sys>;
		status = "okay";
	};

// 1v8_DP_PWR_EN_ - page 10, block D9-5
// Power DP0
	vdd_dp0pwr: REGDMY3 {
		compatible = "regulator-fixed";
		regulator-name = "vdd_dp0pwr";
		regulator-boot-on;
		regulator-always-on;
//		enable-active-high;
		gpios = <&gpio1 RK_PD5 GPIO_ACTIVE_LOW>;
		vin-supply = <&vcc5v0_sys>;
		status = "okay";
	};

// 1v8_NHI_PWREN_ - page 10, block D9-5
// Power INTEL i350
	vdd_hrdnhi: REGDMY4 {
		compatible = "regulator-fixed";
		regulator-name = "vdd_hrdnhi";
		regulator-boot-on;
		regulator-always-on;
//		enable-active-high;
		gpios = <&gpio1 RK_PC6 GPIO_ACTIVE_LOW>;
		vin-supply = <&vcc5v0_sys>;
		status = "okay";
	};

// 1v8_PCIE_EXT_PWREN_ - page 10, block D9-5
// Power on External PCI
	vdd_pciext: REGDMY5 {
		compatible = "regulator-fixed";
		regulator-name = "vdd_pciext";
		regulator-boot-on;
		regulator-always-on;
//		enable-active-high;
		gpios = <&gpio1 RK_PC4 GPIO_ACTIVE_LOW>;
		vin-supply = <&vcc5v0_sys>;
		status = "okay";
	};

	vcc3v3_pcie2x1l2: vcc3v3-pcie2x1l2 {
		compatible = "regulator-fixed";
		regulator-name = "vcc3v3_pcie2x1l2";
		regulator-min-microvolt = <3300000>;
		regulator-max-microvolt = <3300000>;
//		startup-delay-us = <5000>;
		regulator-boot-on;
		regulator-always-on;
		vin-supply = <&vcc_3v3_s3>;
		status = "okay";
	};

	vcc3v3_pcie2x1l0: vcc3v3-pcie2x1l0 {
		compatible = "regulator-fixed";
		regulator-name = "vcc3v3_pcie2x1l0";
		regulator-min-microvolt = <3300000>;
		regulator-max-microvolt = <3300000>;
//		enable-active-high;
		regulator-boot-on;
		regulator-always-on;
//		gpios = <&gpio1 RK_PD2 GPIO_ACTIVE_HIGH>;
//		startup-delay-us = <50000>;
		vin-supply = <&vcc5v0_sys>;
		status = "okay";
	};

	vcc3v3_pcie30: vcc3v3-pcie30 {
		compatible = "regulator-fixed";
		regulator-name = "vcc3v3_pcie30";
		regulator-min-microvolt = <3300000>;
		regulator-max-microvolt = <3300000>;
//		enable-active-high;
		regulator-boot-on;
		regulator-always-on;
//		gpios = <&gpio1 RK_PA4 GPIO_ACTIVE_HIGH>;
//		startup-delay-us = <5000>;
		vin-supply = <&vcc5v0_sys>;
		status = "okay";
	};

	adc_keys: adc-keys {
		compatible = "adc-keys";
		io-channels = <&saradc 1>;
		io-channel-names = "buttons";
		keyup-threshold-microvolt = <1800000>;
		poll-interval = <100>;

		vol-up-key {
			label = "volume up";
			linux,code = <KEY_VOLUMEUP>;
			press-threshold-microvolt = <17000>;
		};

		vol-down-key {
			label = "volume down";
			linux,code = <KEY_VOLUMEDOWN>;
			press-threshold-microvolt = <417000>;
		};

		menu-key {
			label = "menu";
			linux,code = <KEY_MENU>;
			press-threshold-microvolt = <890000>;
		};

		back-key {
			label = "back";
			linux,code = <KEY_BACK>;
			press-threshold-microvolt = <1235000>;
		};
	};

};


///////////////////////
//rk3588-linux.dtsi
//////////////////////
/ {
	aliases {
		mmc0 = &sdhci;
		mmc1 = &sdmmc;
		mmc2 = &sdio;
	};

	chosen: chosen {
		bootargs = "earlycon=uart8250,mmio32,0xfeb50000 console=ttyFIQ0";
		stdout-path = "serial2:115200n8";
	};

	cspmu: cspmu@fd10c000 {
		compatible = "rockchip,cspmu";
		reg = <0x0 0xfd10c000 0x0 0x1000>,
		      <0x0 0xfd10d000 0x0 0x1000>,
		      <0x0 0xfd10e000 0x0 0x1000>,
		      <0x0 0xfd10f000 0x0 0x1000>,
		      <0x0 0xfd12c000 0x0 0x1000>,
		      <0x0 0xfd12d000 0x0 0x1000>,
		      <0x0 0xfd12e000 0x0 0x1000>,
		      <0x0 0xfd12f000 0x0 0x1000>;
	};

	debug: debug@fd104000 {
		compatible = "rockchip,debug";
		reg = <0x0 0xfd104000 0x0 0x1000>,
		      <0x0 0xfd105000 0x0 0x1000>,
		      <0x0 0xfd106000 0x0 0x1000>,
		      <0x0 0xfd107000 0x0 0x1000>,
		      <0x0 0xfd124000 0x0 0x1000>,
		      <0x0 0xfd125000 0x0 0x1000>,
		      <0x0 0xfd126000 0x0 0x1000>,
		      <0x0 0xfd127000 0x0 0x1000>;
	};

	fiq_debugger: fiq-debugger {
		compatible = "rockchip,fiq-debugger";
		rockchip,serial-id = <2>;
		rockchip,wake-irq = <0>;
		/* If enable uart uses irq instead of fiq */
		rockchip,irq-mode-enable = <1>;
		rockchip,baudrate = <115200>;  /* Only 115200 and 1500000 */
		interrupts = <GIC_SPI 423 IRQ_TYPE_LEVEL_LOW>;
		pinctrl-names = "default";
		pinctrl-0 = <&uart2m0_xfer>;
		status = "okay";
	};

	firmware {
		optee: optee {
			compatible = "linaro,optee-tz";
			method = "smc";
			//status = "disabled";
		};
	};

	reserved-memory {
		#address-cells = <2>;
		#size-cells = <2>;
		ranges;

		cma {
			compatible = "shared-dma-pool";
			reusable;
			size = <0x0 (8 * 0x100000)>;
			linux,cma-default;
		};

		drm_logo: drm-logo@00000000 {
			compatible = "rockchip,drm-logo";
			reg = <0x0 0x0 0x0 0x0>;
		};

		drm_cubic_lut: drm-cubic-lut@00000000 {
			compatible = "rockchip,drm-cubic-lut";
			reg = <0x0 0x0 0x0 0x0>;
		};

		ramoops: ramoops@110000 {
			compatible = "ramoops";
			reg = <0x0 0x110000 0x0 0xf0000>;
			record-size = <0x20000>;
			console-size = <0x80000>;
			ftrace-size = <0x00000>;
			pmsg-size = <0x50000>;
		};
	};
};

&display_subsystem {
	memory-region = <&drm_logo>;
	memory-region-names = "drm-logo";
};

&dfi {
	status = "okay";
};

&dmc {
	status = "okay";
	center-supply = <&vdd_ddr_s0>;
	mem-supply = <&vdd_log_s0>;
};

&rng {
	status = "okay";
};
